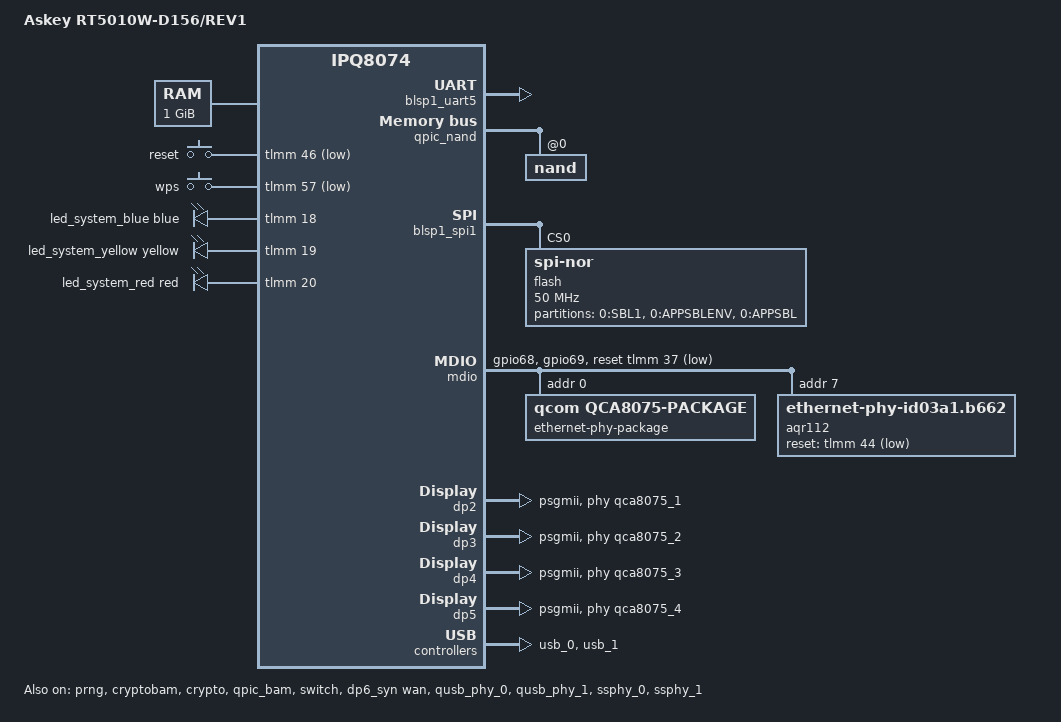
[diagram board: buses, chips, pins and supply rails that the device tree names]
// SPDX-License-Identifier: GPL-2.0-or-later OR MIT

/dts-v1/;

#include "ipq8074.dtsi"
#include "ipq8074-hk-cpu.dtsi"
#include "ipq8074-ess.dtsi"
#include <dt-bindings/gpio/gpio.h>
#include <dt-bindings/input/input.h>
#include <dt-bindings/leds/common.h>

/ {
	model = "Askey RT5010W-D156/REV1";
	compatible = "askey,rt5010w-d156-rev1", "askey,rt5010w-d156", "qcom,ipq8074";

	aliases {
		led-boot = &led_system_red;
		led-failsafe = &led_system_red;
		led-running = &led_system_blue;
		led-upgrade = &led_system_red;
		serial0 = &blsp1_uart5;
		/* Aliases as required by u-boot to patch MAC addresses */
		ethernet0 = &dp6_syn;
		ethernet1 = &dp4;
		ethernet2 = &dp3;
		ethernet3 = &dp2;
		ethernet4 = &dp5;
		label-mac-device = &dp6_syn;
	};

	chosen {
		stdout-path = "serial0:115200n8";
		bootargs-append = " earlycon clk_ignore_unused";
	};

	memory@40000000 {
		device_type = "memory";
		reg = <0x0 0x40000000 0x0 0x40000000>; /* Force 1 GB DRAM limit */
	};

	keys {
		compatible = "gpio-keys";

		reset {
			label = "reset";
			gpios = <&tlmm 46 GPIO_ACTIVE_LOW>;
			linux,code = <KEY_RESTART>;
		};

		wps {
			label = "wps";
			gpios = <&tlmm 57 GPIO_ACTIVE_LOW>;
			linux,code = <KEY_WPS_BUTTON>;
		};
	};

	leds {
		compatible = "gpio-leds";

		led_system_blue: system-blue {
			gpios = <&tlmm 18 GPIO_ACTIVE_HIGH>;
			color = <LED_COLOR_ID_BLUE>;
			function = LED_FUNCTION_STATUS;
		};

		led_system_yellow: system-yellow {
			gpios = <&tlmm 19 GPIO_ACTIVE_HIGH>;
			color = <LED_COLOR_ID_YELLOW>;
			function = LED_FUNCTION_STATUS;
		};

		led_system_red: system-red {
			gpios = <&tlmm 20 GPIO_ACTIVE_HIGH>;
			color = <LED_COLOR_ID_RED>;
			function = LED_FUNCTION_STATUS;
		};
	};
};

&tlmm {
	mdio_pins: mdio-pins {
		mdc {
			pins = "gpio68";
			function = "mdc";
			drive-strength = <8>;
			bias-pull-up;
		};

		mdio {
			pins = "gpio69";
			function = "mdio";
			drive-strength = <8>;
			bias-pull-up;
		};
	};
};

&blsp1_uart5 {
	status = "okay";
};

&prng {
	status = "okay";
};

&cryptobam {
	status = "okay";
};

&crypto {
	status = "okay";
};

&qpic_bam {
	status = "okay";
};

&qpic_nand {
	status = "okay";

	nand@0 {
		reg = <0>;
		nand-ecc-strength = <8>;
		nand-ecc-step-size = <512>;
		nand-bus-width = <8>;

		partitions {
			compatible = "qcom,smem-part";
		};
	};
};

&blsp1_spi1 {
	pinctrl-0 = <&spi_0_pins>;
	pinctrl-names = "default";
	status = "okay";

	flash@0 {
		compatible = "jedec,spi-nor";
		reg = <0>;
		spi-max-frequency = <50000000>;

		partitions {
			compatible = "fixed-partitions";
			#address-cells = <1>;
			#size-cells = <1>;

			partition@0 {
				label = "0:SBL1";
				reg = <0x0 0xa0000>;
				read-only;
			};

			partition@a0000 {
				label = "0:APPSBLENV";
				reg = <0xa0000 0x40000>;
			};

			partition@e0000 {
				label = "0:APPSBL";
				reg = <0xe0000 0x100000>;
				read-only;
			};
		};
	};
};

&mdio {
	pinctrl-0 = <&mdio_pins>;
	pinctrl-names = "default";
	reset-gpios = <&tlmm 37 GPIO_ACTIVE_LOW>;
	status = "okay";

	ethernet-phy-package@0 {
	        #address-cells = <1>;
	        #size-cells = <0>;
	        compatible = "qcom,qca8075-package";
	        reg = <0>;

	        qcom,package-mode = "psgmii";

		qca8075_1: ethernet-phy@1 {
			compatible = "ethernet-phy-ieee802.3-c22";
			reg = <1>;
		};

		qca8075_2: ethernet-phy@2 {
			compatible = "ethernet-phy-ieee802.3-c22";
			reg = <2>;
		};

		qca8075_3: ethernet-phy@3 {
			compatible = "ethernet-phy-ieee802.3-c22";
			reg = <3>;
		};

		qca8075_4: ethernet-phy@4 {
			compatible = "ethernet-phy-ieee802.3-c22";
			reg = <4>;
		};
	};

	aqr112: ethernet-phy@7 {
		compatible = "ethernet-phy-id03a1.b662", "ethernet-phy-ieee802.3-c45";
		reg = <7>;
		reset-gpios = <&tlmm 44 GPIO_ACTIVE_LOW>;
		reset-deassert-us = <10000>;

		leds {
			#address-cells = <1>;
			#size-cells = <0>;

			led@0 {
				reg = <0>;
				color = <LED_COLOR_ID_YELLOW>;
				function = LED_FUNCTION_WAN;
				default-state = "keep";
				active-low;
			};

			led@2 {
				reg = <2>;
				color = <LED_COLOR_ID_GREEN>;
				function = LED_FUNCTION_WAN;
				default-state = "keep";
				active-low;
			};
		};
	};
};

&switch {
	/* Controller Mode (Isolated 2.5G WAN) */
	switch_lan_bmp = <(ESS_PORT2 | ESS_PORT3 | ESS_PORT4 | ESS_PORT5)>;
	switch_wan_bmp = <ESS_PORT6>;

	/* AP Agent Mode (Bridged 2.5G LAN)
	switch_lan_bmp = <(ESS_PORT2 | ESS_PORT3 | ESS_PORT4 | ESS_PORT5 | ESS_PORT6)>;
	switch_wan_bmp = <0>;
	*/

        switch_mac_mode = <MAC_MODE_PSGMII>; /* mac mode for uniphy instance0*/
        switch_mac_mode2 = <MAC_MODE_USXGMII>; /* mac mode for uniphy instance2*/
        status = "okay";

	qcom,port_phyinfo {
		port@2 {
			port_id = <2>;
			phy_address = <1>;
		};

		port@3 {
			port_id = <3>;
			phy_address = <2>;
		};

		port@4 {
			port_id = <4>;
			phy_address = <3>;
		};

		port@5 {
			port_id = <5>;
			phy_address = <4>;
		};

		port@6 {
			port_id = <6>;
			phy_address = <7>;
			port_mac_sel = "QGMAC_PORT";
			ethernet-phy-ieee802.3-c45;
		};
	};
};

&edma {
	status = "okay";
};

&dp2 {
        phy-mode = "psgmii";
        phy-handle = <&qca8075_1>;
        label = "lan3";
        status = "okay";
};

&dp3 {
        phy-mode = "psgmii";
        phy-handle = <&qca8075_2>;
        label = "lan2";
        status = "okay";
};

&dp4 {
        phy-mode = "psgmii";
        phy-handle = <&qca8075_3>;
        label = "lan1";
        status = "okay";
};

&dp5 {
        phy-mode = "psgmii";
        phy-handle = <&qca8075_4>;
        label = "lan4";
        status = "okay";
};

&dp6_syn {
	phy-mode = "usxgmii";
	phy-handle = <&aqr112>;
	label = "wan";
	managed = "in-band-status";
	status = "okay";
};

&pcie_qmp0 {
	status = "disabled";
};

&pcie0 {
	status = "disabled";

	perst-gpios = <&tlmm 58 GPIO_ACTIVE_LOW>;

	pcie@0 {
		wifi@0,0 {
			status = "disabled";
			compatible = "pci17cb,1104";
			reg = <0x00010000 0 0 0 0>;
			qcom,ath11k-calibration-variant = "Spectrum-SAX1V1K";
		};
	};
};

&qusb_phy_0 {
	status = "okay";
};

&qusb_phy_1 {
	status = "okay";
};

&ssphy_0 {
	status = "okay";
};

&ssphy_1 {
	status = "okay";
};

&usb_0 {
	status = "okay";
};

&usb_1 {
	status = "okay";
};

&q6v5_wcss {
	status = "disabled";
};

&wifi {
	qcom,ath11k-calibration-variant = "Spectrum-SAX1V1K";
	status = "disabled";
};

